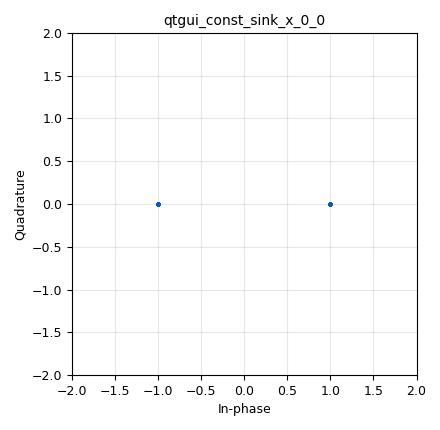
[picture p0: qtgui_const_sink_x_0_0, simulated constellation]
options:
  parameters:
    generate_options: qt_gui
    id: lab4
    output_language: python
    title: Not titled yet
  states: {}

blocks:
- name: ruido
  id: variable_qtgui_range
  parameters:
    start: '0'
    step: '0.05'
    stop: '2'
    value: '0'
  states: {}
- name: samp_rate
  id: variable
  parameters:
    value: '32000'
  states: {}
- name: analog_noise_source_x_0
  id: analog_noise_source_x
  parameters:
    amp: ruido
    noise_type: analog.GR_GAUSSIAN
    seed: '0'
    type: complex
  states: {}
- name: analog_random_source_x_0
  id: analog_random_source_x
  parameters:
    max: '2'
    min: '0'
    num_samps: '1000'
    repeat: 'True'
    type: byte
  states: {}
- name: blocks_add_xx_0
  id: blocks_add_xx
  parameters:
    type: complex
  states: {}
- name: blocks_throttle2_0
  id: blocks_throttle2
  parameters:
    samples_per_second: samp_rate
    type: complex
  states: {}
- name: blocks_throttle2_1
  id: blocks_throttle2
  parameters:
    samples_per_second: samp_rate
    type: byte
  states: {}
- name: digital_chunks_to_symbols_xx_0
  id: digital_chunks_to_symbols_xx
  parameters:
    dimension: '1'
    in_type: byte
    out_type: complex
    symbol_table: '[-1,1]'
  states: {}
- name: digital_constellation_decoder_cb_0
  id: digital_constellation_decoder_cb
  parameters:
    constellation: digital.constellation_qpsk().base()
  states: {}
- name: fec_ber_bf_0
  id: fec_ber_bf
  parameters:
    test_mode: 'False'
  states: {}
- name: import_0
  id: import
  parameters:
    imports: import math
  states: {}
- name: import_1
  id: import
  parameters:
    imports: import cmath
  states: {}
- name: qtgui_const_sink_x_0_0
  id: qtgui_const_sink_x
  parameters:
    size: '2048'
    type: complex
  states: {}
- name: qtgui_number_sink_0_0_0_0
  id: qtgui_number_sink
  parameters:
    alias: aaaaaaab
    graph_type: qtgui.NUM_GRAPH_HORIZ
    type: float
  states: {}
- name: virtual_sink_0
  id: virtual_sink
  parameters:
    stream_id: '123'
  states: {}
- name: virtual_source_0
  id: virtual_source
  parameters:
    stream_id: '123'
  states: {}

connections:
- [analog_noise_source_x_0, '0', blocks_throttle2_0, '0']
- [analog_random_source_x_0, '0', blocks_throttle2_1, '0']
- [blocks_add_xx_0, '0', digital_constellation_decoder_cb_0, '0']
- [blocks_add_xx_0, '0', qtgui_const_sink_x_0_0, '0']
- [blocks_throttle2_0, '0', blocks_add_xx_0, '0']
- [blocks_throttle2_1, '0', digital_chunks_to_symbols_xx_0, '0']
- [blocks_throttle2_1, '0', virtual_sink_0, '0']
- [digital_chunks_to_symbols_xx_0, '0', blocks_add_xx_0, '1']
- [digital_constellation_decoder_cb_0, '0', fec_ber_bf_0, '0']
- [fec_ber_bf_0, '0', qtgui_number_sink_0_0_0_0, '0']
- [virtual_source_0, '0', fec_ber_bf_0, '1']

metadata:
  file_format: 1
  grc_version: 3.10.7.0
